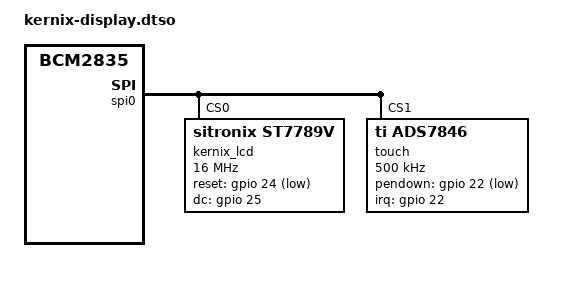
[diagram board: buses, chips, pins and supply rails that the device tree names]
// SPDX-License-Identifier: GPL-2.0
/dts-v1/;
/plugin/;
/ {
    compatible = "brcm,bcm2835";
    fragment@0 {
        target = <&spidev0>;
        __overlay__ { status = "disabled"; };
    };
    fragment@1 {
        target = <&spidev1>;
        __overlay__ { status = "disabled"; };
    };
    fragment@2 {
        target = <&gpio>;
        __overlay__ {
            kernix_touch_pins: kernix-touch-pins {
                brcm,pins = <22>;
                brcm,function = <0>;
                brcm,pull = <2>;
            };
        };
    };
    fragment@3 {
        target = <&spi0>;
        __overlay__ {
            status = "okay";
            #address-cells = <1>;
            #size-cells = <0>;
            kernix_lcd: display@0 {
                /* Readback ID2=0x81, ID3=0xb3 suggests ST7789P3 family. */
                compatible = "sitronix,st7789v";
                reg = <0>;
                spi-max-frequency = <16000000>;
                buswidth = <8>;
                rotate = <90>;
                bgr;
                fps = <20>;
                /* Same ST7789 initialization as the bundled driver, with
                 * INVON (0x21) replaced by INVOFF (0x20) for this panel.
                 * 0x01xxxxxx = command; 0x02xxxxxx = delay in ms. */
                init = <
                    0x01000011 0x02000078
                    0x0100003a 0x05
                    0x010000b2 0x05 0x05 0x00 0x33 0x33
                    0x010000b7 0x75
                    0x010000c2 0x01 0xff
                    0x010000c3 0x13
                    0x010000c4 0x20
                    0x010000bb 0x22
                    0x010000c5 0x20
                    0x010000d0 0xa4 0xa1
                    0x01000029
                    0x01000020
                    0x02000014
                >;
                /* ILI9341 RESET is active-low; logical 0 releases reset. */
                reset-gpios = <&gpio 24 1>;
                dc-gpios = <&gpio 25 0>;
            };
            touch@1 {
                compatible = "ti,ads7846";
                reg = <1>;
                spi-max-frequency = <500000>;
                pinctrl-names = "default";
                pinctrl-0 = <&kernix_touch_pins>;
                interrupt-parent = <&gpio>;
                interrupts = <22 2>;
                pendown-gpio = <&gpio 22 1>;
                ti,x-min = /bits/ 16 <0>;
                ti,y-min = /bits/ 16 <0>;
                ti,x-max = /bits/ 16 <4095>;
                ti,y-max = /bits/ 16 <4095>;
                ti,x-plate-ohms = /bits/ 16 <400>;
                ti,pressure-max = /bits/ 16 <65535>;
            };
        };
    };
    __overrides__ {
        rotate = <&kernix_lcd>, "rotate:0";
        bgr = <&kernix_lcd>, "bgr?";
        speed = <&kernix_lcd>, "spi-max-frequency:0";
    };
};
